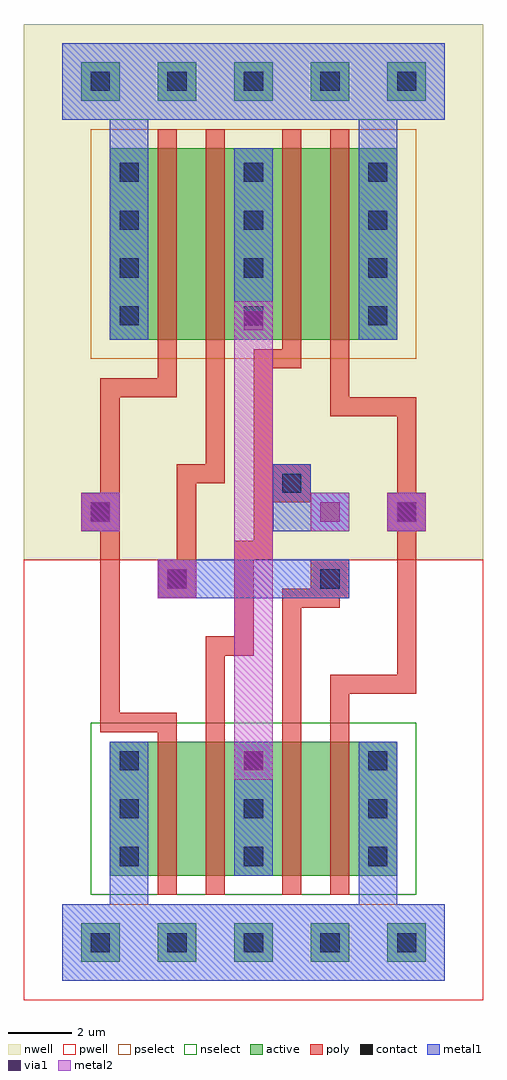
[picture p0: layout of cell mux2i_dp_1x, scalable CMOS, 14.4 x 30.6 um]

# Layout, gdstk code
import gdstk
lib = gdstk.Library(unit=1e-6, precision=1e-09)
def R(c, l, rs):  # rectangles x0, y0, x1, y1
    for r in rs: c.add(gdstk.rectangle(r[:2], r[2:], *l))
def A(c, l, x, y, w, h, nx, ny, dx, dy):  # array of equal rectangles
    R(c, l, [(x+i*dx, y+j*dy, x+i*dx+w, y+j*dy+h) for i in range(nx) for j in range(ny)])
contact = (25, 0)
pwell = (41, 0)
nwell = (42, 0)
active = (43, 0)
pselect = (44, 0)
nselect = (45, 0)
poly = (46, 0)
metal1 = (49, 0)
via1 = (50, 0)
metal2 = (51, 0)

mux2i_dp_1x = lib.new_cell('mux2i_dp_1x')
A(mux2i_dp_1x, contact, 0.3, -0.3, 0.6, 0.6, 5, 2, 2.4, 27)
A(mux2i_dp_1x, contact, 1.2, 2.4, 0.6, 0.6, 3, 3, 3.9, 1.5)
A(mux2i_dp_1x, contact, 1.2, 19.35, 0.6, 0.6, 3, 4, 3.9, 1.5)
R(mux2i_dp_1x, contact, [(2.7,11.1,3.3,11.7), (7.5,11.1,8.1,11.7), (0.3,13.2,0.9,13.8), (9.9,13.2,10.5,13.8), (6.3,14.1,6.9,14.7)])
A(mux2i_dp_1x, pwell, -0.9, -1.5, 3, 3, 5, 1, 2.4, 0)
A(mux2i_dp_1x, pwell, -0.9, 0.3, 4.8, 7.8, 3, 1, 3.9, 0)
R(mux2i_dp_1x, pwell, [(-1.8,-1.8,12.6,12), (-0.3,0.3,5.7,8.1), (1.2,0.3,7.2,8.1), (3.6,0.3,9.6,8.1), (5.1,0.3,11.1,8.1), (3.075,1.95,7.65,6.45), (3.15,2.25,7.725,6.75), (4.725,2.55,9.975,7.05), (6.975,2.55,11.55,7.05), (0.825,3.15,6.075,7.65), (-0.75,3.45,3.825,7.95)])
A(mux2i_dp_1x, nwell, -0.9, 17.1, 4.8, 9.6, 3, 1, 3.9, 0)
A(mux2i_dp_1x, nwell, -0.9, 25.5, 3, 3, 5, 1, 2.4, 0)
R(mux2i_dp_1x, nwell, [(-1.8,12,12.6,28.8), (-0.3,17.1,5.7,26.7), (1.2,17.1,7.2,26.7), (3.6,17.1,9.6,26.7), (5.1,17.1,11.1,26.7), (6.975,18.75,11.55,23.25), (3.15,19.2,7.725,23.7), (4.725,19.65,9.975,24.15), (-0.75,19.95,3.825,24.45), (3.075,20.1,7.65,24.6), (0.825,21.15,6.075,25.65)])
A(mux2i_dp_1x, active, 0, -0.6, 1.2, 1.2, 5, 2, 2.4, 27)
A(mux2i_dp_1x, active, 0.9, 2.1, 1.2, 4.2, 3, 1, 3.9, 0)
A(mux2i_dp_1x, active, 0.9, 18.9, 1.2, 6, 3, 1, 3.9, 0)
R(mux2i_dp_1x, active, [(1.5,2.1,3.9,6.3), (3,2.1,5.4,6.3), (5.4,2.1,7.8,6.3), (6.9,2.1,9.3,6.3), (4.875,3.75,5.85,4.65), (4.95,4.05,5.925,4.95), (6.525,4.35,8.175,5.25), (8.775,4.35,9.75,5.25), (2.625,4.95,4.275,5.85), (1.05,5.25,2.025,6.15), (1.5,18.9,3.9,24.9), (3,18.9,5.4,24.9), (5.4,18.9,7.8,24.9), (6.9,18.9,9.3,24.9), (8.775,20.55,9.75,21.45), (4.95,21,5.925,21.9), (6.525,21.45,8.175,22.35), (1.05,21.75,2.025,22.65), (4.875,21.9,5.85,22.8), (2.625,22.95,4.275,23.85)])
A(mux2i_dp_1x, pselect, -0.6, -1.2, 2.4, 2.4, 5, 1, 2.4, 0)
A(mux2i_dp_1x, pselect, 0.3, 18.3, 2.4, 7.2, 3, 1, 3.9, 0)
R(mux2i_dp_1x, pselect, [(0.9,18.3,4.5,25.5), (2.4,18.3,6,25.5), (4.8,18.3,8.4,25.5), (6.3,18.3,9.9,25.5), (8.175,19.95,10.35,22.05), (4.35,20.4,6.525,22.5), (5.925,20.85,8.775,22.95), (0.45,21.15,2.625,23.25), (4.275,21.3,6.45,23.4), (2.025,22.35,4.875,24.45)])
A(mux2i_dp_1x, nselect, 0.3, 1.5, 2.4, 5.4, 3, 1, 3.9, 0)
A(mux2i_dp_1x, nselect, -0.6, 25.8, 2.4, 2.4, 5, 1, 2.4, 0)
R(mux2i_dp_1x, nselect, [(0.9,1.5,4.5,6.9), (2.4,1.5,6,6.9), (4.8,1.5,8.4,6.9), (6.3,1.5,9.9,6.9), (4.275,3.15,6.45,5.25), (4.35,3.45,6.525,5.55), (5.925,3.75,8.775,5.85), (8.175,3.75,10.35,5.85), (2.025,4.35,4.875,6.45), (0.45,4.65,2.625,6.75)])
R(mux2i_dp_1x, poly, [(2.4,1.5,3,6.9), (3.9,1.5,4.5,6.9), (6.3,1.5,6.9,6.9), (7.8,1.5,8.4,6.9), (0.6,6.6,1.2,13.8), (0.6,6.6,3,7.2), (3.9,6.6,4.5,9.6), (6.3,6.6,6.9,11.1), (7.8,6.6,8.4,8.4), (7.8,7.8,10.5,8.4), (9.9,7.8,10.5,13.8), (3.9,9,5.4,9.6), (4.8,9,5.4,12.6), (6.3,10.5,8.1,11.1), (7.5,10.5,8.1,11.7), (2.4,10.8,3.6,12), (7.2,10.8,8.4,12), (2.7,11.1,3.6,11.7), (2.7,11.1,3.3,11.7), (3,11.1,3.6,15), (4.8,12,6,12.6), (5.4,12,6,14.55), (0,12.9,1.2,14.1), (9.6,12.9,10.8,14.1), (0.3,13.2,1.2,13.8), (0.6,13.2,1.2,17.7), (9.9,13.2,10.5,17.1), (6,13.8,7.2,15), (5.4,13.95,6.9,14.55), (5.4,13.95,6,18.6), (3,14.4,4.5,15), (3.9,14.4,4.5,18.6), (7.8,16.5,10.5,17.1), (7.8,16.5,8.4,18.6), (0.6,17.1,3,17.7), (2.4,17.1,3,18.6), (5.4,18,6.9,18.6), (2.4,18.3,3,25.5), (3.9,18.3,4.5,25.5), (6.3,18.3,6.9,25.5), (7.8,18.3,8.4,25.5)])
A(mux2i_dp_1x, metal1, -0.6, -1.2, 4.8, 2.4, 3, 1, 2.4, 0)
A(mux2i_dp_1x, metal1, 0, -0.6, 1.2, 1.2, 5, 1, 2.4, 0)
A(mux2i_dp_1x, metal1, 0.9, 2.1, 1.2, 4.2, 3, 1, 3.9, 0)
A(mux2i_dp_1x, metal1, 0.9, 18.9, 1.2, 6, 3, 1, 3.9, 0)
A(mux2i_dp_1x, metal1, 0, 26.4, 1.2, 1.2, 4, 1, 2.4, 0)
R(mux2i_dp_1x, metal1, [(-0.6,-1.2,1.8,1.2), (-0.6,-1.2,4.2,1.2), (-0.6,-1.2,2.7,1.2), (6.6,-1.2,10.5,1.2), (8.1,-1.2,11.4,1.2), (0.9,-0.6,2.1,3.15), (8.7,-0.6,9.9,3.15), (4.8,5.1,6,6.3), (4.95,5.25,5.85,6.15), (2.4,10.8,3.6,12), (2.4,10.8,3.6,12), (2.4,10.8,3.6,12), (2.4,10.8,8.4,12), (7.2,10.8,8.4,12), (0,12.9,1.2,14.1), (0,12.9,1.2,14.1), (6,12.9,8.25,14.1), (6,12.9,7.2,15), (7.2,12.9,8.4,14.1), (9.6,12.9,10.8,14.1), (9.6,12.9,10.8,14.1), (0.15,13.05,1.05,13.95), (9.75,13.05,10.65,13.95), (6,13.8,7.2,15), (4.8,18.9,6,20.1), (4.95,19.05,5.85,19.95), (0.9,23.85,2.1,27.6), (8.7,23.85,9.9,27.6), (-0.6,25.8,1.8,28.2), (-0.6,25.8,2.7,28.2), (0.3,25.8,4.2,28.2), (1.8,25.8,9,28.2), (6.6,25.8,10.5,28.2), (8.1,25.8,11.4,28.2), (0,26.4,1.2,27.6), (4.8,26.4,8.4,27.6), (7.2,26.4,8.4,27.6), (9.6,26.4,10.8,27.6), (9.6,26.4,10.8,27.6)])
R(mux2i_dp_1x, via1, [(5.1,5.4,5.7,6), (2.7,11.1,3.3,11.7), (0.3,13.2,0.9,13.8), (7.5,13.2,8.1,13.8), (9.9,13.2,10.5,13.8), (5.1,19.2,5.7,19.8)])
R(mux2i_dp_1x, metal2, [(4.8,5.1,6,6.3), (4.8,5.1,6,11.1), (4.8,9.9,6,20.1), (2.4,10.8,3.6,12), (0,12.9,1.2,14.1), (7.2,12.9,8.4,14.1), (9.6,12.9,10.8,14.1), (4.8,18.9,6,20.1)])

lib.write_gds('mux2i_dp_1x.gds')
